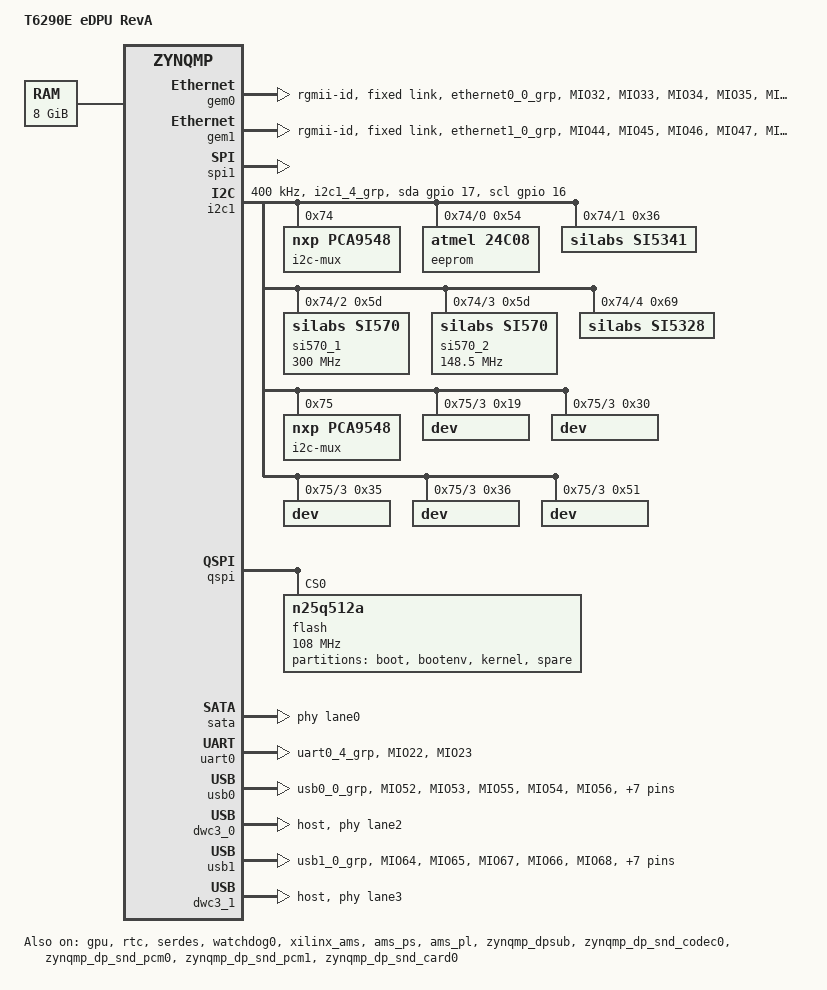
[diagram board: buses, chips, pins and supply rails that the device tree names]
// SPDX-License-Identifier: GPL-2.0+
/*
 * dts file for Xilinx ZynqMP ZCU102 RevA
 *
 * (C) Copyright 2015 - 2018, Xilinx, Inc.
 *
 * Michal Simek <michal.simek@xilinx.com>
 */

/dts-v1/;

#include "zynqmp.dtsi"
#include "zynqmp-clk-ccf.dtsi"
#include <dt-bindings/input/input.h>
#include <dt-bindings/gpio/gpio.h>
#include <dt-bindings/pinctrl/pinctrl-zynqmp.h>
#include <dt-bindings/phy/phy.h>

/ {
	model = "T6290E eDPU RevA";
	compatible = "xlnx,zynqmp";

	aliases {
		ethernet0 = &gem0;
		ethernet1 = &gem1;
		gpio0 = &gpio;
		i2c1 = &i2c1;
		rtc0 = &rtc;
		serial0 = &uart0;
		spi0 = &qspi;
		spi1 = &spi1;
		usb0 = &usb0;
		usb1 = &usb1;
	};

	chosen {
		bootargs = "earlycon";
		stdout-path = "serial0:115200n8";
	};

	memory {
		device_type = "memory";
		reg = <0x0 0x0 0x0 0x80000000>, <0x8 0x00000000 0x1 0x80000000>;
	};
};

&dcc {
	status = "disabled";
};

&fpd_dma_chan1 {
	status = "okay";
};

&fpd_dma_chan2 {
	status = "okay";
};

&fpd_dma_chan3 {
	status = "okay";
};

&fpd_dma_chan4 {
	status = "okay";
};

&fpd_dma_chan5 {
	status = "okay";
};

&fpd_dma_chan6 {
	status = "okay";
};

&fpd_dma_chan7 {
	status = "okay";
};

&fpd_dma_chan8 {
	status = "okay";
};

&lpd_dma_chan1 {
	status = "okay";
};

&lpd_dma_chan2 {
	status = "okay";
};

&lpd_dma_chan3 {
	status = "okay";
};

&lpd_dma_chan4 {
	status = "okay";
};

&lpd_dma_chan5 {
	status = "okay";
};

&lpd_dma_chan6 {
	status = "okay";
};

&lpd_dma_chan7 {
	status = "okay";
};

&lpd_dma_chan8 {
	status = "okay";
};

&gem0 {
	status = "okay";
	/*phy-handle = <&phy0>;*/
	phy-mode = "rgmii-id";
	pinctrl-names = "default";
	pinctrl-0 = <&pinctrl_gem0_default>;
	/*
	phy0: phy@21 {
		reg = <21>;
		ti,rx-internal-delay = <0x8>;
		ti,tx-internal-delay = <0xa>;
		ti,fifo-depth = <0x1>;
		ti,rxctrl-strap-worka;
	};*/
	fixed-link {
		speed = <1000>;
		full-duplex;
		pause;
		asym-pause;
	};
};

&gem1 {
	status = "okay";
	/*phy-handle = <&phy1>; */
	phy-mode = "rgmii-id";
	pinctrl-names = "default";
	pinctrl-0 = <&pinctrl_gem1_default>;
	/*
	phy1: phy@21 {
		reg = <21>;
		ti,rx-internal-delay = <0x8>;
		ti,tx-internal-delay = <0xa>;
		ti,fifo-depth = <0x1>;
		ti,rxctrl-strap-worka;
	};*/
	fixed-link {
		speed = <1000>;
		full-duplex;
		pause;
		asym-pause;
	};
};

&gpio {
	status = "okay";
	pinctrl-names = "default";
	pinctrl-0 = <&pinctrl_gpio_default>;
};


&spi1 {
	status = "okay";
	is-decoded-cs = <0>;
	num-cs = <1>;
};

&gpu {
	status = "okay";
};

&i2c1 {
	status = "okay";
	clock-frequency = <400000>;
	pinctrl-names = "default", "gpio";
	pinctrl-0 = <&pinctrl_i2c1_default>;
	pinctrl-1 = <&pinctrl_i2c1_gpio>;
	scl-gpios = <&gpio 16 GPIO_ACTIVE_HIGH>;
	sda-gpios = <&gpio 17 GPIO_ACTIVE_HIGH>;

	/* PL i2c via PCA9306 - u45 */
	i2c-mux@74 { /* u34 */
		compatible = "nxp,pca9548";
		#address-cells = <1>;
		#size-cells = <0>;
		reg = <0x74>;
		i2c@0 {
			#address-cells = <1>;
			#size-cells = <0>;
			reg = <0>;
			/*
			 * IIC_EEPROM 1kB memory which uses 256B blocks
			 * where every block has different address.
			 *    0 - 256B address 0x54
			 * 256B - 512B address 0x55
			 * 512B - 768B address 0x56
			 * 768B - 1024B address 0x57
			 */
			eeprom: eeprom@54 { /* u23 */
				compatible = "atmel,24c08";
				reg = <0x54>;
			};
		};
		i2c@1 {
			#address-cells = <1>;
			#size-cells = <0>;
			reg = <1>;
			si5341: clock-generator@36 { /* SI5341 - u69 */
				compatible = "silabs,si5341";
				reg = <0x36>;
			};

		};
		i2c@2 {
			#address-cells = <1>;
			#size-cells = <0>;
			reg = <2>;
			si570_1: clock-generator@5d { /* USER SI570 - u42 */
				#clock-cells = <0>;
				compatible = "silabs,si570";
				reg = <0x5d>;
				temperature-stability = <50>;
				factory-fout = <300000000>;
				clock-frequency = <300000000>;
			};
		};
		i2c@3 {
			#address-cells = <1>;
			#size-cells = <0>;
			reg = <3>;
			si570_2: clock-generator@5d { /* USER MGT SI570 - u56 */
				#clock-cells = <0>;
				compatible = "silabs,si570";
				reg = <0x5d>;
				temperature-stability = <50>; /* copy from zc702 */
				factory-fout = <156250000>;
				clock-frequency = <148500000>;
			};
		};
		i2c@4 {
			#address-cells = <1>;
			#size-cells = <0>;
			reg = <4>;
			si5328: clock-generator@69 {/* SI5328 - u20 */
				compatible = "silabs,si5328";
				reg = <0x69>;
				/*
				 * Chip has interrupt present connected to PL
				 * interrupt-parent = <&>;
				 * interrupts = <>;
				 */
			};
		};
		/* 5 - 7 unconnected */
	};

	i2c-mux@75 {
		compatible = "nxp,pca9548"; /* u135 */
		#address-cells = <1>;
		#size-cells = <0>;
		reg = <0x75>;

		i2c@0 {
			#address-cells = <1>;
			#size-cells = <0>;
			reg = <0>;
			/* HPC0_IIC */
		};
		i2c@1 {
			#address-cells = <1>;
			#size-cells = <0>;
			reg = <1>;
			/* HPC1_IIC */
		};
		i2c@2 {
			#address-cells = <1>;
			#size-cells = <0>;
			reg = <2>;
			/* SYSMON */
		};
		i2c@3 {
			#address-cells = <1>;
			#size-cells = <0>;
			reg = <3>;
			/* DDR4 SODIMM */
			dev@19 {
				reg = <0x19>;
			};
			dev@30 {
				reg = <0x30>;
			};
			dev@35 {
				reg = <0x35>;
			};
			dev@36 {
				reg = <0x36>;
			};
			dev@51 {
				reg = <0x51>;
			};
		};
		i2c@4 {
			#address-cells = <1>;
			#size-cells = <0>;
			reg = <4>;
			/* SEP 3 */
		};
		i2c@5 {
			#address-cells = <1>;
			#size-cells = <0>;
			reg = <5>;
			/* SEP 2 */
		};
		i2c@6 {
			#address-cells = <1>;
			#size-cells = <0>;
			reg = <6>;
			/* SEP 1 */
		};
		i2c@7 {
			#address-cells = <1>;
			#size-cells = <0>;
			reg = <7>;
			/* SEP 0 */
		};
	};
};

&pinctrl0 {
	status = "okay";
	pinctrl_i2c1_default: i2c1-default {
		mux {
			groups = "i2c1_4_grp";
			function = "i2c1";
		};

		conf {
			groups = "i2c1_4_grp";
			bias-pull-up;
			slew-rate = <SLEW_RATE_SLOW>;
			io-standard = <IO_STANDARD_LVCMOS18>;
		};
	};

	pinctrl_i2c1_gpio: i2c1-gpio {
		mux {
			groups = "gpio0_16_grp", "gpio0_17_grp";
			function = "gpio0";
		};

		conf {
			groups = "gpio0_16_grp", "gpio0_17_grp";
			slew-rate = <SLEW_RATE_SLOW>;
			io-standard = <IO_STANDARD_LVCMOS18>;
		};
	};

	pinctrl_uart0_default: uart0-default {
		mux {
			groups = "uart0_4_grp";
			function = "uart0";
		};

		conf {
			groups = "uart0_4_grp";
			slew-rate = <SLEW_RATE_SLOW>;
			io-standard = <IO_STANDARD_LVCMOS18>;
		};

		conf-rx {
			pins = "MIO22";
			bias-high-impedance;
		};

		conf-tx {
			pins = "MIO23";
			bias-disable;
		};
	};

	pinctrl_usb0_default: usb0-default {
		mux {
			groups = "usb0_0_grp";
			function = "usb0";
		};

		conf {
			groups = "usb0_0_grp";
			slew-rate = <SLEW_RATE_SLOW>;
			io-standard = <IO_STANDARD_LVCMOS18>;
		};

		conf-rx {
			pins = "MIO52", "MIO53", "MIO55";
			bias-high-impedance;
		};

		conf-tx {
			pins = "MIO54", "MIO56", "MIO57", "MIO58", "MIO59",
			       "MIO60", "MIO61", "MIO62", "MIO63";
			bias-disable;
		};
	};

	pinctrl_usb1_default: usb1-default {
		mux {
			groups = "usb1_0_grp";
			function = "usb1";
		};

		conf {
			groups = "usb1_0_grp";
			slew-rate = <SLEW_RATE_SLOW>;
			io-standard = <IO_STANDARD_LVCMOS18>;
		};

		conf-rx {
			pins = "MIO64", "MIO65", "MIO67";
			bias-high-impedance;
		};

		conf-tx {
			pins = "MIO66", "MIO68", "MIO69", "MIO70", "MIO71",
			       "MIO72", "MIO73", "MIO74", "MIO75";
			bias-disable;
		};
	};

	pinctrl_gem0_default: gem0-default {
		mux {
			function = "ethernet0";
			groups = "ethernet0_0_grp";
		};

		conf {
			groups = "ethernet0_0_grp";
			slew-rate = <SLEW_RATE_SLOW>;
			io-standard = <IO_STANDARD_LVCMOS18>;
		};

		conf-rx {
			pins = "MIO32", "MIO33", "MIO34", "MIO35", "MIO36",
									"MIO37";
			bias-high-impedance;
			low-power-disable;
		};

		conf-tx {
			pins = "MIO26", "MIO27", "MIO28", "MIO29", "MIO30",
									"MIO31";
			bias-disable;
			low-power-enable;
		};

		mux-mdio {
			function = "mdio0";
			groups = "mdio0_0_grp";
		};

		conf-mdio {
			groups = "mdio0_0_grp";
			slew-rate = <SLEW_RATE_SLOW>;
			io-standard = <IO_STANDARD_LVCMOS18>;
			bias-disable;
		};
	};

	pinctrl_gem1_default: gem1-default {
		mux {
			function = "ethernet1";
			groups = "ethernet1_0_grp";
		};

		conf {
			groups = "ethernet1_0_grp";
			slew-rate = <SLEW_RATE_SLOW>;
			io-standard = <IO_STANDARD_LVCMOS18>;
		};

		conf-rx {
			pins = "MIO44", "MIO45", "MIO46", "MIO47", "MIO48",
									"MIO49";
			bias-high-impedance;
			low-power-disable;
		};

		conf-tx {
			pins = "MIO38", "MIO39", "MIO40", "MIO41", "MIO42",
									"MIO43";
			bias-disable;
			low-power-enable;
		};

		mux-mdio {
			function = "mdio1";
			groups = "mdio1_0_grp";
		};

		conf-mdio {
			groups = "mdio1_0_grp";
			slew-rate = <SLEW_RATE_SLOW>;
			io-standard = <IO_STANDARD_LVCMOS18>;
			bias-disable;
		};
	};

	pinctrl_gpio_default: gpio-default {
		mux-sw {
			function = "gpio0";
			groups = "gpio0_7_grp", "gpio0_8_grp";
		};

		conf-sw {
			groups = "gpio0_7_grp", "gpio0_8_grp";
			slew-rate = <SLEW_RATE_SLOW>;
			io-standard = <IO_STANDARD_LVCMOS18>;
		};

		mux-msp {
			function = "gpio0";
			groups = "gpio0_12_grp", "gpio0_13_grp";
		};

		conf-msp {
			groups = "gpio0_12_grp", "gpio0_13_grp";
			slew-rate = <SLEW_RATE_SLOW>;
			io-standard = <IO_STANDARD_LVCMOS18>;
		};

		conf-pull-up {
			pins = "MIO14", "MIO15";
			bias-pull-up;
		};

		conf-pull-none {
			pins = "MIO18", "MIO19";
			bias-disable;
		};
	};
};

&qspi {
	status = "okay";
	is-dual = <0>;
	spi-rx-bus-width = <0x4>;
	spi-tx-bus-width = <0x4>;	
	flash@0 {
		compatible = "n25q512a", "micron,m25p80";
		#address-cells = <1>;
		#size-cells = <1>;
		spi-max-frequency = <108000000>; /* Based on DC1 spec */
		reg = <0x0>;				
		partition@0x00000000 {
			label = "boot";
			reg = <0x0 0x1000000>;
		};

		partition@0x01000000 {
			label = "bootenv";
			reg = <0x1000000 0x40000>;
		};

		partition@0x01040000 {
			label = "kernel";
			reg = <0x1040000 0x1000000>;
		};

		partition@0x02040000 {
			label = "spare";
			reg = <0x2040000 0x0>;
		};		
	};
};

&rtc {
	status = "okay";
};

&sata {
	status = "okay";
	/* SATA OOB timing settings */
	ceva,p0-cominit-params = /bits/ 8 <0x18 0x40 0x18 0x28>;
	ceva,p0-comwake-params = /bits/ 8 <0x06 0x14 0x08 0x0E>;
	ceva,p0-burst-params = /bits/ 8 <0x13 0x08 0x4A 0x06>;
	ceva,p0-retry-params = /bits/ 16 <0x96A4 0x3FFC>;
	ceva,p1-cominit-params = /bits/ 8 <0x18 0x40 0x18 0x28>;
	ceva,p1-comwake-params = /bits/ 8 <0x06 0x14 0x08 0x0E>;
	ceva,p1-burst-params = /bits/ 8 <0x13 0x08 0x4A 0x06>;
	ceva,p1-retry-params = /bits/ 16 <0x96A4 0x3FFC>;
	phy-names = "sata-phy";
	phys = <&lane0 PHY_TYPE_SATA 0 1 125000000>;
};


&serdes {
	status = "okay";
};

&uart0 {
	status = "okay";
	pinctrl-names = "default";
	pinctrl-0 = <&pinctrl_uart0_default>;
};

/* ULPI SMSC USB3320 */
&usb0 {
	status = "okay";
	pinctrl-names = "default";
	pinctrl-0 = <&pinctrl_usb0_default>;
};

&dwc3_0 {
	status = "okay";
	dr_mode = "host";
	snps,usb3_lpm_capable;
	phy-names = "usb3-phy";
	phys = <&lane2 PHY_TYPE_USB3 0 2 26000000>;
	maximum-speed = "super-speed";
};

&usb1 {
	status = "okay";
	pinctrl-names = "default";
	pinctrl-0 = <&pinctrl_usb1_default>;
};

&dwc3_1 {
	status = "okay";
	dr_mode = "host";
	snps,usb3_lpm_capable;
	phy-names = "usb3-phy";
	phys = <&lane3 PHY_TYPE_USB3 0 2 26000000>;
	maximum-speed = "super-speed";
};

&watchdog0 {
	status = "okay";
};

&xilinx_ams {
	status = "okay";
};

&ams_ps {
	status = "okay";
};

&ams_pl {
	status = "okay";
};

&zynqmp_dpsub {
	status = "okay";
	phy-names = "dp-phy0";
	phys = <&lane1 PHY_TYPE_DP 0 1 27000000>;
};

&zynqmp_dp_snd_codec0 {
	status = "okay";
};

&zynqmp_dp_snd_pcm0 {
	status = "okay";
};

&zynqmp_dp_snd_pcm1 {
	status = "okay";
};

&zynqmp_dp_snd_card0 {
	status = "okay";
};

&xlnx_dpdma {
	status = "okay";
};
